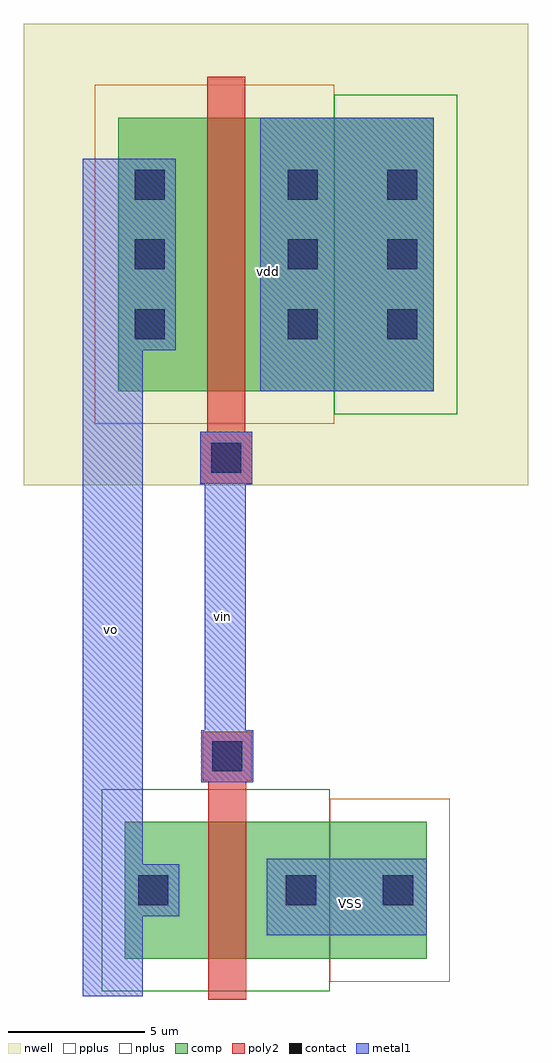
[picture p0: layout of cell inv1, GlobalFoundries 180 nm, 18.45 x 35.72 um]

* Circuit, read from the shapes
.subckt inv1 VSS vdd vin vo
XM1 VSS vin vo VSS nfet_03v3 w=5u l=1.4u
XM2 vdd vin vo vdd pfet_03v3 w=10u l=1.4u
.ends

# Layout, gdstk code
import gdstk
lib = gdstk.Library(unit=1e-6, precision=5e-09)
def R(c, l, rs):  # rectangles x0, y0, x1, y1
    for r in rs: c.add(gdstk.rectangle(r[:2], r[2:], *l))
def A(c, l, x, y, w, h, nx, ny, dx, dy):  # array of equal rectangles
    R(c, l, [(x+i*dx, y+j*dy, x+i*dx+w, y+j*dy+h) for i in range(nx) for j in range(ny)])
nwell = (21, 0)
comp = (22, 0)
poly2 = (30, 0)
pplus = (31, 0)
nplus = (32, 0)
contact = (33, 0)
metal1 = (34, 0)

nfet = lib.new_cell('nfet')
R(nfet, comp, [(-2.1,0,0,5), (0,0,3.3,5), (3.3,0,5.4,5), (5.4,0,8.95,5)])
R(nfet, poly2, [(0.95,-1.5,2.35,6.5), (0.75,6.5,2.55,8.3)])
R(nfet, pplus, [(5.4,-0.85,9.8,5.85)])
R(nfet, nplus, [(-2.95,-1.2,5.4,6.2)])
R(nfet, contact, [(-1.6,1.95,-0.5,3.05), (3.8,1.95,4.9,3.05), (7.35,1.95,8.45,3.05), (1.1,6.85,2.2,7.95)])
R(nfet, metal1, [(-2,1.545,-0.1,3.455), (3.4,1.545,5.3,3.455), (6.95,1.545,8.85,3.455), (0.7,6.445,2.6,8.355)])

pfet = lib.new_cell('pfet')
R(pfet, nwell, [(-5.75,-3.45,12.7,13.45)])
R(pfet, comp, [(-2.3,0,0,10), (0,0,3.3,10), (3.3,0,5.6,10), (5.6,0,9.25,10)])
R(pfet, poly2, [(0.7,-3.4,2.6,-1.5), (0.95,-1.5,2.35,11.5)])
R(pfet, pplus, [(-3.15,-1.2,5.6,11.2)])
R(pfet, nplus, [(5.6,-0.85,10.1,10.85)])
A(pfet, contact, -1.7, 1.9, 1.1, 1.1, 1, 3, 0, 2.55)
A(pfet, contact, 3.9, 1.9, 1.1, 1.1, 1, 3, 0, 2.55)
A(pfet, contact, 7.55, 1.9, 1.1, 1.1, 1, 3, 0, 2.55)
R(pfet, contact, [(1.1,-3,2.2,-1.9)])
R(pfet, metal1, [(0.7,-3.405,2.6,-1.495), (-2.1,1.5,-0.2,8.5), (3.5,1.5,5.4,8.5), (7.15,1.5,9.05,8.5)])

inv1 = lib.new_cell('inv1')
R(inv1, metal1, [(-4.94,-2.5,-2.74,28.15), (1.8,-0.26,7.65,2.54), (1.55,19.65,7.9,29.65)])
inv1.add(gdstk.FlexPath([(0.28,17.87),(0.28,5.72)], 1.5, ends="flush", simple_path=True, layer=34, datatype=0))  # metal1
inv1.add(gdstk.Reference(nfet, (-1.3,-1.12)))
inv1.add(gdstk.Reference(pfet, (-1.34,19.65)))
inv1.add(gdstk.Label('vin', (0.17,11.39), layer=34, texttype=10))
inv1.add(gdstk.Label('vo', (-3.93,10.91), layer=34, texttype=10))
inv1.add(gdstk.Label('vdd', (1.85,24.02), layer=34, texttype=10))
inv1.add(gdstk.Label('VSS', (4.87,0.91), layer=34, texttype=10))

lib.write_gds('inv1.gds')
